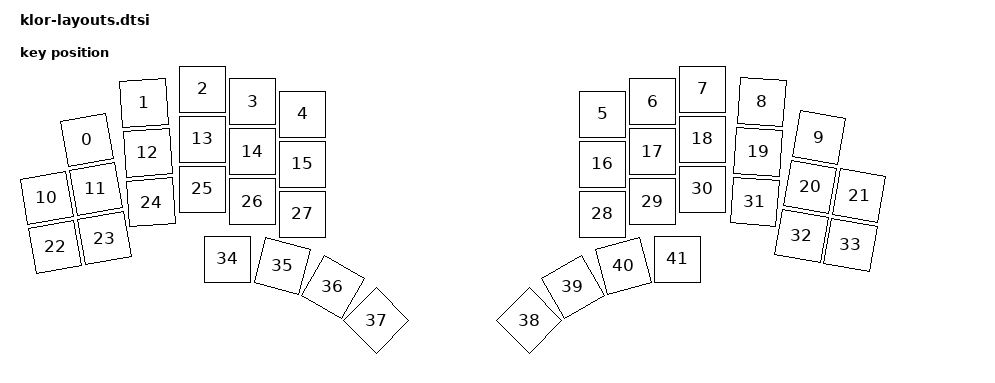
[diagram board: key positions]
#include <physical_layouts.dtsi>

/ {
    klor_physical_layout: klor_physical_layout {
        compatible = "zmk,physical-layout";
        display-name = "KLOR Layout";
        transform = <&default_transform>;

        keys  //                     w   h    x    y     rot    rx    ry
            /* Row 0: 10 keys (no outer pinky in matrix) */
            = <&key_physical_attrs 100 100  100   90 (-1000)   200   325>  /* Q */
            , <&key_physical_attrs 100 100  200   25  (-400)   275   325>  /* W */
            , <&key_physical_attrs 100 100  300    0       0     0     0>  /* E */
            , <&key_physical_attrs 100 100  400   25       0     0     0>  /* R */
            , <&key_physical_attrs 100 100  500   50       0     0     0>  /* T */
            , <&key_physical_attrs 100 100 1100   50       0     0     0>  /* Y */
            , <&key_physical_attrs 100 100 1200   25       0     0     0>  /* U */
            , <&key_physical_attrs 100 100 1300    0       0     0     0>  /* I */
            , <&key_physical_attrs 100 100 1400   25     400  1450   325>  /* O */
            , <&key_physical_attrs 100 100 1500   90    1000  1525   325>  /* P */

            /* Row 1: 12 keys (outer pinky in matrix, broken off on saegewerk) */
            , <&key_physical_attrs 100 100    0  190 (-1000)   200   325>  /* trans - left outer pinky */
            , <&key_physical_attrs 100 100  100  190 (-1000)   200   325>  /* A */
            , <&key_physical_attrs 100 100  200  125  (-400)   275   325>  /* S */
            , <&key_physical_attrs 100 100  300  100       0     0     0>  /* D */
            , <&key_physical_attrs 100 100  400  125       0     0     0>  /* F */
            , <&key_physical_attrs 100 100  500  150       0     0     0>  /* G */
            , <&key_physical_attrs 100 100 1100  150       0     0     0>  /* H */
            , <&key_physical_attrs 100 100 1200  125       0     0     0>  /* J */
            , <&key_physical_attrs 100 100 1300  100       0     0     0>  /* K */
            , <&key_physical_attrs 100 100 1400  125     400  1450   325>  /* L */
            , <&key_physical_attrs 100 100 1500  190    1000  1525   325>  /* ; */
            , <&key_physical_attrs 100 100 1600  190    1000  1525   325>  /* trans - right outer pinky */

            /* Row 2: 12 keys (outer pinky in matrix, broken off on saegewerk) */
            , <&key_physical_attrs 100 100    0  290 (-1000)   200   325>  /* trans - left outer pinky */
            , <&key_physical_attrs 100 100  100  290 (-1000)   200   325>  /* Z */
            , <&key_physical_attrs 100 100  200  225  (-400)   275   325>  /* X */
            , <&key_physical_attrs 100 100  300  200       0     0     0>  /* C */
            , <&key_physical_attrs 100 100  400  225       0     0     0>  /* V */
            , <&key_physical_attrs 100 100  500  250       0     0     0>  /* B */
            , <&key_physical_attrs 100 100 1100  250       0     0     0>  /* N */
            , <&key_physical_attrs 100 100 1200  225       0     0     0>  /* M */
            , <&key_physical_attrs 100 100 1300  200       0     0     0>  /* , */
            , <&key_physical_attrs 100 100 1400  225     400  1450   325>  /* . */
            , <&key_physical_attrs 100 100 1500  290    1000  1525   325>  /* / */
            , <&key_physical_attrs 100 100 1600  290    1000  1525   325>  /* trans - right outer pinky */

            /* Thumb row: 8 keys (4+4, outer thumbs are trans) */
            , <&key_physical_attrs 100 100  350  340       0     0     0>  /* trans - left outer thumb */
            , <&key_physical_attrs 100 100  350  340    1500   400   810>  /* LCTRL */
            , <&key_physical_attrs 100 100  350  340    3000   400   810>  /* LOWER */
            , <&key_physical_attrs 100 100  350  340    4500   400   810>  /* SPACE */

            , <&key_physical_attrs 100 100 1250  340 (-4500)  1300   810>  /* ENTER */
            , <&key_physical_attrs 100 100 1250  340 (-3000)  1300   810>  /* RAISE */
            , <&key_physical_attrs 100 100 1250  340 (-1500)  1300   810>  /* BSPC */
            , <&key_physical_attrs 100 100 1250  340       0     0     0>  /* trans - right outer thumb */
            ;
    };
};
